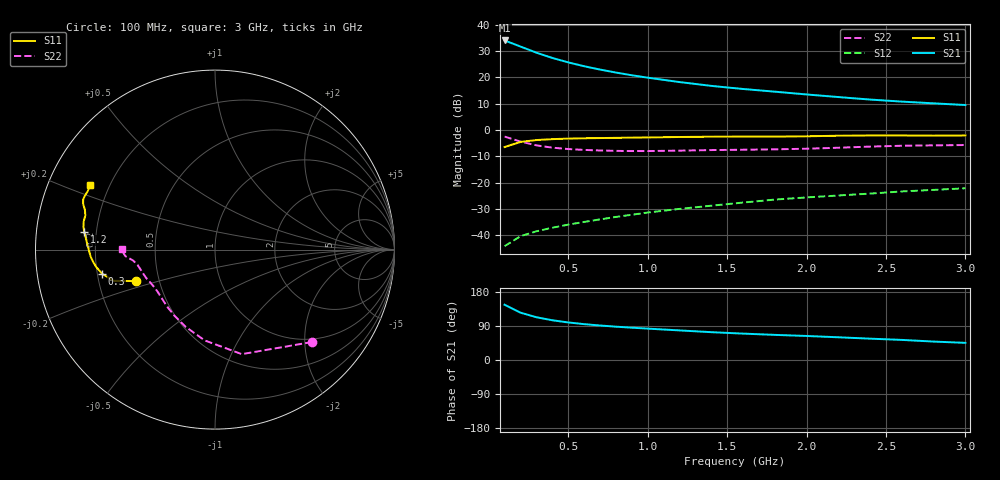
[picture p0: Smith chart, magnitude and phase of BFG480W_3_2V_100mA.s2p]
! Filename: 3_2100BFG480.001
! Title: BFG480W
! Bias: Vce=3.2V; Ic=100mA
! Company: Philips Semiconductors NL
! User: Quality&Reliability T&D
! Measure time: 10 Nov 1999 / 11:57:59
#  MHz  S  MA  R 50
! Freq  S11  S21  S12  S22  :
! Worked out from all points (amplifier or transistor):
!   20 points, 100 MHz to 3 GHz, reference 50 ohm
!   highest |S21| = 34.1 dB at 100 MHz (marker M1)
!   |S21| within 3 dB of that: start of sweep to 229.2 MHz
!   unconditionally stable (mu >= 1): 685 MHz to end of sweep
!   at 400 MHz: K = 0.83, MSG = 32.3 dB, |S12| = -37.2 dB
!   at 1.2 GHz: K = 1.08, MAG = 22.4 dB, |S12| = -30.1 dB
!   at 3 GHz: K = 1.06, MAG = 14.4 dB, |S12| = -22.2 dB
!   S11 on the Smith chart (normalised r, x): 100 MHz: 0.37, -0.17; 300 MHz: 0.22, -0.10; 1.2 GHz: 0.15, +0.06; 3 GHz: 0.13, +0.24
100  0.4729 -158.2  50.44 145.8  0.006149 69.1  0.7473 -43.5
200  0.5914 -162.9  38.61 125.0  0.009521 61.0  0.6013 -75.6
300  0.6427 -167.9  29.55 112.9  0.0118 60.1  0.5094 -96.4
400  0.669 -171.7  23.46 104.9  0.01378 61.9  0.4605 -110.7
500  0.6843 -174.6  19.33 99.1  0.01578 63.9  0.4334 -120.9
600  0.6952 -177.1  16.31 94.6  0.01781 65.7  0.4172 -128.5
700  0.701 -179.2  14.1 91.1  0.01987 67.9  0.4066 -134.3
800  0.7071 178.8  12.37 88.0  0.02213 69.6  0.3998 -139.2
900  0.7145 177.0  10.99 85.3  0.02435 71.2  0.3968 -143.4
1000  0.7204 175.3  9.882 82.8  0.02684 72.2  0.3968 -147.1
1200  0.7346 172.4  8.154 78.1  0.03144 73.6  0.4042 -153.0
1400  0.7439 170.2  6.899 73.5  0.03619 74.4  0.4141 -157.4
1600  0.7482 167.8  6.019 69.7  0.04155 75.1  0.4204 -160.8
1800  0.7471 165.2  5.353 66.3  0.04732 75.5  0.4278 -164.4
2000  0.7574 163.1  4.738 63.4  0.05205 76.1  0.4395 -168.7
2200  0.7765 161.0  4.227 60.0  0.05661 75.9  0.4587 -172.2
2400  0.7855 159.2  3.787 56.3  0.06154 75.4  0.4824 -174.4
2600  0.7851 157.6  3.463 53.0  0.06765 74.6  0.5006 -175.8
2800  0.78 155.3  3.209 48.6  0.0724 73.2  0.5092 -177.6
3000  0.7847 152.6  2.98 45.2  0.07774 72.4  0.5167 179.5
